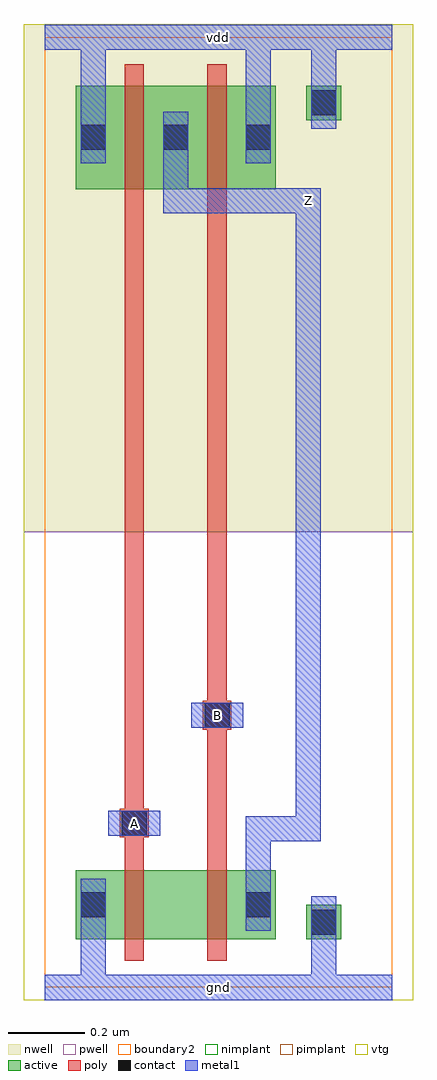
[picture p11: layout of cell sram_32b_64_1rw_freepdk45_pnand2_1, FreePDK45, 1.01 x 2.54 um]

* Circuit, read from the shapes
.subckt sram_32b_64_1rw_freepdk45_pnand2_1 A B Z gnd vdd
M1 sram_32b_64_1rw_freepdk45_nmos_m1_w0_180_sm1_dactive_2/D A gnd gnd nfet w=0.18u l=0.05u
M2 Z B sram_32b_64_1rw_freepdk45_nmos_m1_w0_180_sm1_dactive_2/D gnd nfet w=0.18u l=0.05u
M3 Z A vdd vdd pfet w=0.27u l=0.05u
M4 vdd B Z vdd pfet w=0.27u l=0.05u
.ends

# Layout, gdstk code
import gdstk
lib = gdstk.Library(unit=1e-6, precision=5e-10)
def R(c, l, rs):  # rectangles x0, y0, x1, y1
    for r in rs: c.add(gdstk.rectangle(r[:2], r[2:], *l))
active = (1, 0)
pwell = (2, 0)
nwell = (3, 0)
nimplant = (4, 0)
pimplant = (5, 0)
vtg = (6, 0)
poly = (9, 0)
contact = (10, 0)
metal1 = (11, 0)
boundary2 = (239, 0)

sram_32b_64_1rw_freepdk4 = lib.new_cell('sram_32b_64_1rw_freepdk45_contact_11')
R(sram_32b_64_1rw_freepdk4, active, [(0,0.0225,0.09,0.1125)])
R(sram_32b_64_1rw_freepdk4, nwell, [(-0.055,-0.0325,0.145,0.1675)])
R(sram_32b_64_1rw_freepdk4, pimplant, [(0,0.0225,0.09,0.1125)])
R(sram_32b_64_1rw_freepdk4, contact, [(0.0125,0.035,0.0775,0.1)])
R(sram_32b_64_1rw_freepdk4, metal1, [(0.0125,0,0.0775,0.135)])
R(sram_32b_64_1rw_freepdk4, boundary2, [(-0.055,-0.0325,0.145,0.1675)])

c_sram_32b_64_1rw_freepdk4 = lib.new_cell('sram_32b_64_1rw_freepdk45_pmos_m1_w0_270_sm1_dm1')
R(c_sram_32b_64_1rw_freepdk4, active, [(0,0,0.305,0.27)])
R(c_sram_32b_64_1rw_freepdk4, nwell, [(-0.08,-0.08,0.385,0.35)])
R(c_sram_32b_64_1rw_freepdk4, pimplant, [(0,0,0.305,0.27)])
R(c_sram_32b_64_1rw_freepdk4, vtg, [(-0.08,-0.08,0.385,0.35)])
R(c_sram_32b_64_1rw_freepdk4, poly, [(0.1275,-0.055,0.1775,0.325), (0.1275,-0.055,0.1775,0.325)])
R(c_sram_32b_64_1rw_freepdk4, metal1, [(0.0125,0.0675,0.0775,0.2025), (0.2275,0.0675,0.2925,0.2025)])
R(c_sram_32b_64_1rw_freepdk4, boundary2, [(-0.08,-0.08,0.385,0.35)])
c_sram_32b_64_1rw_freepdk4.add(gdstk.Reference(sram_32b_64_1rw_freepdk4, (0,0.0675)))
c_sram_32b_64_1rw_freepdk4.add(gdstk.Reference(sram_32b_64_1rw_freepdk4, (0.215,0.0675)))
c_sram_32b_64_1rw_freepdk4.add(gdstk.Label('G', (0.1525,0.135), layer=9, texttype=0))
c_sram_32b_64_1rw_freepdk4.add(gdstk.Label('S', (0.045,0.135), layer=11, texttype=0))
c_sram_32b_64_1rw_freepdk4.add(gdstk.Label('D', (0.26,0.135), layer=11, texttype=0))

c_sram_32b_64_1rw_freepdk4_ = lib.new_cell('sram_32b_64_1rw_freepdk45_contact_10')
R(c_sram_32b_64_1rw_freepdk4_, active, [(0,0.0225,0.09,0.1125)])
R(c_sram_32b_64_1rw_freepdk4_, pwell, [(-0.055,-0.0325,0.145,0.1675)])
R(c_sram_32b_64_1rw_freepdk4_, nimplant, [(0,0.0225,0.09,0.1125)])
R(c_sram_32b_64_1rw_freepdk4_, contact, [(0.0125,0.035,0.0775,0.1)])
R(c_sram_32b_64_1rw_freepdk4_, metal1, [(0.0125,0,0.0775,0.135)])
R(c_sram_32b_64_1rw_freepdk4_, boundary2, [(-0.055,-0.0325,0.145,0.1675)])

c_sram_32b_64_1rw_freepdk4__ = lib.new_cell('sram_32b_64_1rw_freepdk45_nmos_m1_w0_180_sm1_dactive')
R(c_sram_32b_64_1rw_freepdk4__, active, [(0,0,0.305,0.18), (0.215,0.045,0.305,0.135)])
R(c_sram_32b_64_1rw_freepdk4__, pwell, [(-0.08,-0.08,0.385,0.26)])
R(c_sram_32b_64_1rw_freepdk4__, nimplant, [(0,0,0.305,0.18)])
R(c_sram_32b_64_1rw_freepdk4__, vtg, [(-0.08,-0.08,0.385,0.26)])
R(c_sram_32b_64_1rw_freepdk4__, poly, [(0.1275,-0.055,0.1775,0.235), (0.1275,-0.055,0.1775,0.235)])
R(c_sram_32b_64_1rw_freepdk4__, metal1, [(0.0125,0.0225,0.0775,0.1575)])
R(c_sram_32b_64_1rw_freepdk4__, boundary2, [(-0.08,-0.08,0.385,0.26)])
c_sram_32b_64_1rw_freepdk4__.add(gdstk.Reference(c_sram_32b_64_1rw_freepdk4_, (0,0.0225)))
c_sram_32b_64_1rw_freepdk4__.add(gdstk.Label('G', (0.1525,0.09), layer=9, texttype=0))
c_sram_32b_64_1rw_freepdk4__.add(gdstk.Label('S', (0.045,0.09), layer=11, texttype=0))
c_sram_32b_64_1rw_freepdk4__.add(gdstk.Label('D', (0.26,0.09), layer=1, texttype=0))

c_sram_32b_64_1rw_freepdk4___ = lib.new_cell('sram_32b_64_1rw_freepdk45_nmos_m1_w0_180_sactive_dm1')
R(c_sram_32b_64_1rw_freepdk4___, active, [(0,0,0.305,0.18), (0,0.045,0.09,0.135)])
R(c_sram_32b_64_1rw_freepdk4___, pwell, [(-0.08,-0.08,0.385,0.26)])
R(c_sram_32b_64_1rw_freepdk4___, nimplant, [(0,0,0.305,0.18)])
R(c_sram_32b_64_1rw_freepdk4___, vtg, [(-0.08,-0.08,0.385,0.26)])
R(c_sram_32b_64_1rw_freepdk4___, poly, [(0.1275,-0.055,0.1775,0.235), (0.1275,-0.055,0.1775,0.235)])
R(c_sram_32b_64_1rw_freepdk4___, metal1, [(0.2275,0.0225,0.2925,0.1575)])
R(c_sram_32b_64_1rw_freepdk4___, boundary2, [(-0.08,-0.08,0.385,0.26)])
c_sram_32b_64_1rw_freepdk4___.add(gdstk.Reference(c_sram_32b_64_1rw_freepdk4_, (0.215,0.0225)))
c_sram_32b_64_1rw_freepdk4___.add(gdstk.Label('G', (0.1525,0.09), layer=9, texttype=0))
c_sram_32b_64_1rw_freepdk4___.add(gdstk.Label('S', (0.045,0.09), layer=1, texttype=0))
c_sram_32b_64_1rw_freepdk4___.add(gdstk.Label('D', (0.26,0.09), layer=11, texttype=0))

c_sram_32b_64_1rw_freepdk4____ = lib.new_cell('sram_32b_64_1rw_freepdk45_contact_12')
R(c_sram_32b_64_1rw_freepdk4____, active, [(0,0.0225,0.09,0.1125)])
R(c_sram_32b_64_1rw_freepdk4____, nwell, [(-0.055,-0.0325,0.145,0.1675)])
R(c_sram_32b_64_1rw_freepdk4____, nimplant, [(0,0.0225,0.09,0.1125)])
R(c_sram_32b_64_1rw_freepdk4____, contact, [(0.0125,0.035,0.0775,0.1)])
R(c_sram_32b_64_1rw_freepdk4____, metal1, [(0.0125,0,0.0775,0.135)])
R(c_sram_32b_64_1rw_freepdk4____, boundary2, [(-0.055,-0.0325,0.145,0.1675)])

c_sram_32b_64_1rw_freepdk4_____ = lib.new_cell('sram_32b_64_1rw_freepdk45_contact_13')
R(c_sram_32b_64_1rw_freepdk4_____, active, [(0,0.0225,0.09,0.1125)])
R(c_sram_32b_64_1rw_freepdk4_____, pwell, [(-0.055,-0.0325,0.145,0.1675)])
R(c_sram_32b_64_1rw_freepdk4_____, pimplant, [(0,0.0225,0.09,0.1125)])
R(c_sram_32b_64_1rw_freepdk4_____, contact, [(0.0125,0.035,0.0775,0.1)])
R(c_sram_32b_64_1rw_freepdk4_____, metal1, [(0.0125,0,0.0775,0.135)])
R(c_sram_32b_64_1rw_freepdk4_____, boundary2, [(-0.055,-0.0325,0.145,0.1675)])

c_sram_32b_64_1rw_freepdk4______ = lib.new_cell('sram_32b_64_1rw_freepdk45_contact_14')
R(c_sram_32b_64_1rw_freepdk4______, poly, [(0.03,0,0.105,0.075)])
R(c_sram_32b_64_1rw_freepdk4______, contact, [(0.035,0.005,0.1,0.07)])
R(c_sram_32b_64_1rw_freepdk4______, metal1, [(0,0.005,0.135,0.07)])
R(c_sram_32b_64_1rw_freepdk4______, boundary2, [(0,0,0.135,0.075)])

c_sram_32b_64_1rw_freepdk4_______ = lib.new_cell('sram_32b_64_1rw_freepdk45_pnand2_1')
R(c_sram_32b_64_1rw_freepdk4_______, pwell, [(-0.055,-0.0325,0.9575,1.185)])
R(c_sram_32b_64_1rw_freepdk4_______, nwell, [(-0.055,1.185,0.9575,2.505)])
R(c_sram_32b_64_1rw_freepdk4_______, vtg, [(-0.055,-0.0325,0.9575,1.185), (-0.055,1.185,0.9575,2.505)])
R(c_sram_32b_64_1rw_freepdk4_______, poly, [(0.2075,0.36,0.2575,2.02), (0.4225,0.36,0.4725,2.02), (0.2075,0.39,0.2325,0.465), (0.4225,0.67,0.4475,0.745)])
R(c_sram_32b_64_1rw_freepdk4_______, metal1, [(0,-0.0325,0.9025,0.0325), (0.0925,-0.0325,0.1575,0.1475), (0.6925,0,0.7575,0.17), (0.5225,0.2825,0.5875,0.4125), (0.5225,0.38,0.5875,0.445), (0.555,0.38,0.685,0.445), (0.6525,0.38,0.7175,0.445), (0.165,0.395,0.3,0.46), (0.6525,0.4125,0.7175,2.045), (0.38,0.675,0.515,0.74), (0.3075,2.0125,0.3725,2.0775), (0.34,2.0125,0.685,2.0775), (0.6525,2.0125,0.7175,2.0775), (0.3075,2.045,0.3725,2.1425), (0.0925,2.1425,0.1575,2.5025), (0.5225,2.1425,0.5875,2.5025), (0.6925,2.3,0.7575,2.47), (0,2.4375,0.9025,2.5025)])
R(c_sram_32b_64_1rw_freepdk4_______, boundary2, [(0,0,0.9025,2.47), (0,0,0.9025,2.47)])
c_sram_32b_64_1rw_freepdk4_______.add(gdstk.Reference(c_sram_32b_64_1rw_freepdk4, (0.08,2.075)))
c_sram_32b_64_1rw_freepdk4_______.add(gdstk.Reference(c_sram_32b_64_1rw_freepdk4, (0.295,2.075)))
c_sram_32b_64_1rw_freepdk4_______.add(gdstk.Reference(c_sram_32b_64_1rw_freepdk4__, (0.08,0.125)))
c_sram_32b_64_1rw_freepdk4_______.add(gdstk.Reference(c_sram_32b_64_1rw_freepdk4___, (0.295,0.125)))
c_sram_32b_64_1rw_freepdk4_______.add(gdstk.Reference(c_sram_32b_64_1rw_freepdk4____, (0.68,2.2325)))
c_sram_32b_64_1rw_freepdk4_______.add(gdstk.Reference(c_sram_32b_64_1rw_freepdk4_____, (0.68,0.1025)))
c_sram_32b_64_1rw_freepdk4_______.add(gdstk.Reference(c_sram_32b_64_1rw_freepdk4______, (0.165,0.39)))
c_sram_32b_64_1rw_freepdk4_______.add(gdstk.Reference(c_sram_32b_64_1rw_freepdk4______, (0.38,0.67)))
c_sram_32b_64_1rw_freepdk4_______.add(gdstk.Label('Z', (0.685,2.045), layer=11, texttype=0))
c_sram_32b_64_1rw_freepdk4_______.add(gdstk.Label('gnd', (0.451,0), layer=11, texttype=0))
c_sram_32b_64_1rw_freepdk4_______.add(gdstk.Label('vdd', (0.451,2.47), layer=11, texttype=0))
c_sram_32b_64_1rw_freepdk4_______.add(gdstk.Label('A', (0.2325,0.4275), layer=11, texttype=0))
c_sram_32b_64_1rw_freepdk4_______.add(gdstk.Label('B', (0.4475,0.7075), layer=11, texttype=0))

lib.write_gds('sram_32b_64_1rw_freepdk45_pnand2_1.gds')
